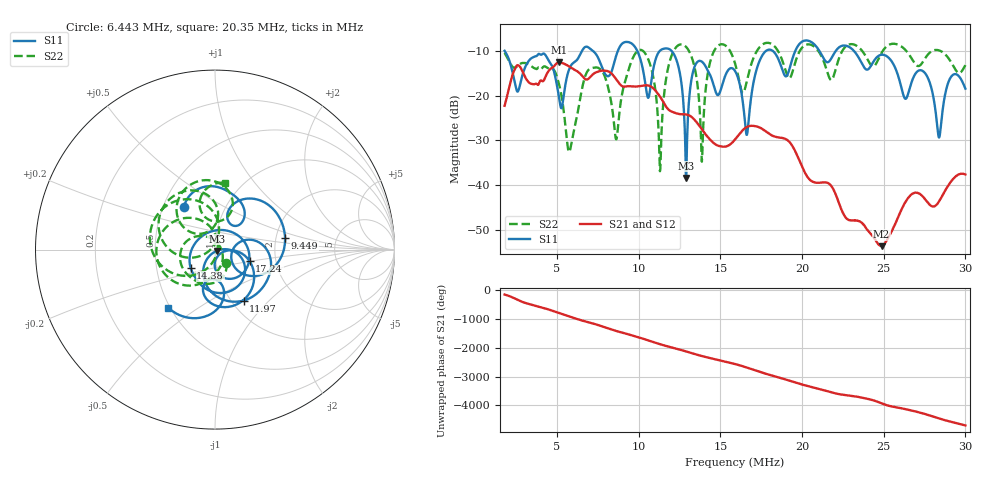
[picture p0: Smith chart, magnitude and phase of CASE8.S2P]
!Agilent Technologies,E5061B,MY49101568,A.02.00
!Date: Wed Mar 01 13:16:33 2023
!Data & Calibration Information:
!Freq	S11:SOLT2(OFF)	S21:SOLT2(OFF)	S12:SOLT2(OFF)	S22:SOLT2(OFF)
# Hz S dB R 50
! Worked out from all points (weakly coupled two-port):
!   1155 points, 1.8 MHz to 30 MHz, reference 50 ohm
!   highest |S21| = -12.53 dB at 5.123 MHz (marker M1); lowest = -53.7 dB at 24.87 MHz (marker M2)
!   lowest |S11| = -38.4 dB at 12.92 MHz (marker M3), VSWR 1.02, Z = 51 - j0.706 ohm
!   |S11| at or under -10 dB: 1.814 MHz to 6.528 MHz (4.713 MHz wide, 113 % of centre); 12.03 MHz to 17.78 MHz (5.746 MHz wide, 38.5 % of centre); 23.19 MHz to end of sweep (the widest 3 of 7)
!   |S22| runs from -36.9 to -8.1 dB; largest |S21 - S12| = 0.0031
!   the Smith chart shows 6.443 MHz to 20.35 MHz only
!   S11 on the Smith chart (normalised r, x): 6.443 MHz: 0.64, +0.33; 9.449 MHz: 2.24, +0.35; 11.97 MHz: 1.14, -0.72; 14.38 MHz: 0.75, -0.16; 17.24 MHz: 1.46, -0.20; 20.35 MHz: 0.49, -0.38
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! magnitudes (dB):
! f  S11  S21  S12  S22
! 1.8 MHz  -9.9  -22.2  -22.2  -10.4
! 5.123 MHz  -20.2  -12.5  -12.5  -17.3
! 5.759 MHz  -14.0  -13.4  -13.4  -32.6
! 6.443 MHz  -10.6  -15.1  -15.1  -20.2
! 6.516 MHz  -10.1  -15.4  -15.3  -18.8
! 8.642 MHz  -10.8  -16.3  -16.3  -29.7
! 9.449 MHz  -8.0  -17.8  -17.8  -13.4
! 10.55 MHz  -20.2  -17.7  -17.7  -11.5
! 11.21 MHz  -10.4  -19.6  -19.7  -26.7
! 11.97 MHz  -9.8  -23.4  -23.5  -11.6
! 12.92 MHz  -38.4  -24.2  -24.2  -9.1
! 13.87 MHz  -12.3  -27.5  -27.5  -34.7
! 14.38 MHz  -15.4  -29.8  -29.9  -12.3
! 15.9 MHz  -14.4  -29.8  -29.8  -12.7
! 16.61 MHz  -28.7  -27.0  -27.0  -16.9
! 17.24 MHz  -13.8  -26.9  -27.0  -9.9
! 20.35 MHz  -7.6  -38.2  -38.2  -8.5
! 20.62 MHz  -8.1  -39.1  -39.1  -8.7
! 24.87 MHz  -10.8  -53.7  -53.5  -10.4
! 25.31 MHz  -11.5  -51.6  -51.5  -8.6
! 28.39 MHz  -29.3  -43.6  -43.6  -9.8
! 30 MHz  -18.4  -37.6  -37.6  -13.1
